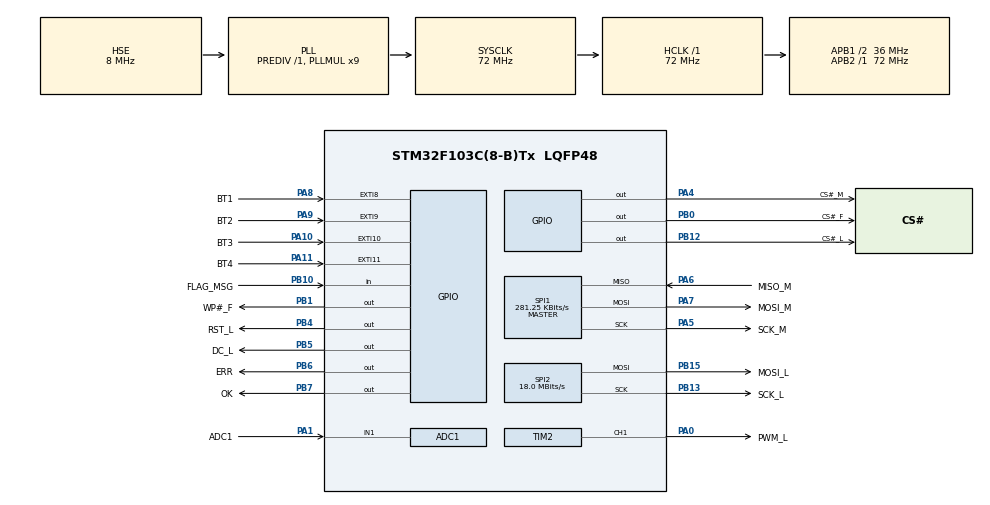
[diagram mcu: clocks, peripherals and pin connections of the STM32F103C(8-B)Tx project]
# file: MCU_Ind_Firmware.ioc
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ADC1.Channel-0\#ChannelRegularConversion=ADC_CHANNEL_1
ADC1.ContinuousConvMode=ENABLE
ADC1.NbrOfConversionFlag=1
ADC1.Rank-0\#ChannelRegularConversion=1
ADC1.SamplingTime-0\#ChannelRegularConversion=ADC_SAMPLETIME_1CYCLE_5
ADC1.master=1
Mcu.Family=STM32F1
Mcu.Name=STM32F103C(8-B)Tx
Mcu.Package=LQFP48
NVIC.EXTI15_10_IRQn=true\:0\:0\:false\:false\:true\:true\:true
NVIC.EXTI9_5_IRQn=true\:0\:0\:false\:false\:true\:true\:true
NVIC.PriorityGroup=NVIC_PRIORITYGROUP_4
NVIC.SPI1_IRQn=true\:0\:0\:false\:false\:true\:true\:true
NVIC.TIM1_UP_IRQn=true\:0\:0\:false\:false\:true\:true\:true
PA0-WKUP.GPIO_Label=PWM_L
PA0-WKUP.Signal=S_TIM2_CH1_ETR
PA1.GPIO_Label=ADC1
PA1.Signal=ADCx_IN1
PA10.GPIO_Label=BT3
PA10.GPIO_PuPd=GPIO_NOPULL
PA10.Signal=GPXTI10
PA11.GPIO_Label=BT4
PA11.GPIO_ModeDefaultEXTI=GPIO_MODE_IT_FALLING
PA11.GPIO_PuPd=GPIO_NOPULL
PA11.Signal=GPXTI11
PA13.Mode=Serial_Wire
PA13.Signal=SYS_JTMS-SWDIO
PA14.Mode=Serial_Wire
PA14.Signal=SYS_JTCK-SWCLK
PA4.GPIO_Label=CS\#_M
PA4.GPIO_ModeDefaultOutputPP=GPIO_MODE_OUTPUT_PP
PA4.GPIO_PuPd=GPIO_NOPULL
PA4.GPIO_Speed=GPIO_SPEED_FREQ_HIGH
PA4.PinState=GPIO_PIN_RESET
PA4.Signal=GPIO_Output
PA5.GPIO_Label=SCK_M
PA5.Mode=Full_Duplex_Master
PA5.Signal=SPI1_SCK
PA6.GPIO_Label=MISO_M
PA6.Mode=Full_Duplex_Master
PA6.Signal=SPI1_MISO
PA7.GPIO_Label=MOSI_M
PA7.Mode=Full_Duplex_Master
PA7.Signal=SPI1_MOSI
PA8.GPIO_Label=BT1
PA8.GPIO_ModeDefaultEXTI=GPIO_MODE_IT_FALLING
PA8.GPIO_PuPd=GPIO_NOPULL
PA8.Signal=GPXTI8
PA9.GPIO_Label=BT2
PA9.GPIO_ModeDefaultEXTI=GPIO_MODE_IT_FALLING
PA9.GPIO_PuPd=GPIO_NOPULL
PA9.Signal=GPXTI9
PB0.GPIO_Label=CS\#_F
PB0.GPIO_ModeDefaultOutputPP=GPIO_MODE_OUTPUT_PP
PB0.GPIO_PuPd=GPIO_NOPULL
PB0.GPIO_Speed=GPIO_SPEED_FREQ_HIGH
PB0.PinState=GPIO_PIN_RESET
PB0.Signal=GPIO_Output
PB1.GPIO_Label=WP\#_F
PB1.GPIO_ModeDefaultOutputPP=GPIO_MODE_OUTPUT_PP
PB1.GPIO_PuPd=GPIO_NOPULL
PB1.GPIO_Speed=GPIO_SPEED_FREQ_HIGH
PB1.PinState=GPIO_PIN_RESET
PB1.Signal=GPIO_Output
PB10.GPIO_Label=FLAG_MSG
PB10.GPIO_PuPd=GPIO_PULLUP
PB10.Signal=GPIO_Input
PB12.GPIO_Label=CS\#_L
PB12.GPIO_ModeDefaultOutputPP=GPIO_MODE_OUTPUT_PP
PB12.GPIO_PuPd=GPIO_NOPULL
PB12.GPIO_Speed=GPIO_SPEED_FREQ_HIGH
PB12.PinState=GPIO_PIN_RESET
PB12.Signal=GPIO_Output
PB13.GPIO_Label=SCK_L
PB13.Mode=TX_Only_Simplex_Unidirect_Master
PB13.Signal=SPI2_SCK
PB15.GPIO_Label=MOSI_L
PB15.Mode=TX_Only_Simplex_Unidirect_Master
PB15.Signal=SPI2_MOSI
PB4.GPIO_Label=RST_L
PB4.GPIO_ModeDefaultOutputPP=GPIO_MODE_OUTPUT_PP
PB4.GPIO_PuPd=GPIO_NOPULL
PB4.GPIO_Speed=GPIO_SPEED_FREQ_HIGH
PB4.PinState=GPIO_PIN_RESET
PB4.Signal=GPIO_Output
PB5.GPIO_Label=DC_L
PB5.GPIO_ModeDefaultOutputPP=GPIO_MODE_OUTPUT_PP
PB5.GPIO_PuPd=GPIO_NOPULL
PB5.GPIO_Speed=GPIO_SPEED_FREQ_HIGH
PB5.PinState=GPIO_PIN_RESET
PB5.Signal=GPIO_Output
PB6.GPIO_Label=ERR
PB6.GPIO_ModeDefaultOutputPP=GPIO_MODE_OUTPUT_PP
PB6.GPIO_PuPd=GPIO_NOPULL
PB6.GPIO_Speed=GPIO_SPEED_FREQ_HIGH
PB6.PinState=GPIO_PIN_RESET
PB6.Signal=GPIO_Output
PB7.GPIO_Label=OK
PB7.GPIO_ModeDefaultOutputPP=GPIO_MODE_OUTPUT_PP
PB7.GPIO_PuPd=GPIO_NOPULL
PB7.GPIO_Speed=GPIO_SPEED_FREQ_HIGH
PB7.PinState=GPIO_PIN_RESET
PB7.Signal=GPIO_Output
PD0-OSC_IN.Mode=HSE-External-Oscillator
PD0-OSC_IN.Signal=RCC_OSC_IN
PD1-OSC_OUT.Mode=HSE-External-Oscillator
PD1-OSC_OUT.Signal=RCC_OSC_OUT
ProjectManager.HeapSize=0x200
ProjectManager.StackSize=0x400
ProjectManager.TargetToolchain=STM32CubeIDE
RCC.ADCPresc=RCC_ADCPCLK2_DIV6
RCC.AHBFreq_Value=72000000
RCC.APB1CLKDivider=RCC_HCLK_DIV2
RCC.APB1Freq_Value=36000000
RCC.APB1TimFreq_Value=72000000
RCC.APB2Freq_Value=72000000
RCC.APB2TimFreq_Value=72000000
RCC.HCLKFreq_Value=72000000
RCC.PLLMUL=RCC_PLL_MUL9
RCC.PLLSourceVirtual=RCC_PLLSOURCE_HSE
RCC.SYSCLKFreq_VALUE=72000000
RCC.SYSCLKSource=RCC_SYSCLKSOURCE_PLLCLK
RCC.USBFreq_Value=72000000
RTC.AutoPrediv=RTC_AUTO_1_SECOND
RTC.Date=20
RTC.Format=RTC_FORMAT_BIN
RTC.Hours=17
RTC.Minutes=40
RTC.Month=RTC_MONTH_APRIL
RTC.WeekDay=RTC_WEEKDAY_TUESDAY
RTC.Year=21
SH.ADCx_IN1.0=ADC1_IN1,IN1
SH.S_TIM2_CH1_ETR.0=TIM2_CH1,PWM Generation1 CH1
SPI1.BaudRatePrescaler=SPI_BAUDRATEPRESCALER_256
SPI1.CLKPhase=SPI_PHASE_1EDGE
SPI1.CLKPolarity=SPI_POLARITY_LOW
SPI1.CalculateBaudRate=281.25 KBits/s
SPI1.Direction=SPI_DIRECTION_2LINES
SPI1.Mode=SPI_MODE_MASTER
SPI1.VirtualType=VM_MASTER
SPI2.BaudRatePrescaler=SPI_BAUDRATEPRESCALER_2
SPI2.CalculateBaudRate=18.0 MBits/s
SPI2.Direction=SPI_DIRECTION_2LINES
SPI2.Mode=SPI_MODE_MASTER
SPI2.VirtualType=VM_MASTER
TIM1.ClockDivision=TIM_CLOCKDIVISION_DIV1
TIM1.Period=49999
TIM1.Prescaler=1439
TIM2.Channel-PWM\ Generation1\ CH1=TIM_CHANNEL_1
TIM2.OC1Preload_PWM=ENABLE
TIM2.Period=4095
TIM2.Pulse-PWM\ Generation1\ CH1=4095
VP_RTC_VS_RTC_Activate.Mode=RTC_Enabled
VP_RTC_VS_RTC_Calendar.Mode=RTC_Calendar
VP_TIM1_VS_ClockSourceINT.Mode=Internal
board=custom

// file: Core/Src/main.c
/* USER CODE BEGIN Header */
/**
  ******************************************************************************
  * @file           : main.c
  * @brief          : Main program body
  ******************************************************************************
  * @attention
  *
  * <h2><center>&copy; Copyright (c) 2020 STMicroelectronics.
  * All rights reserved.</center></h2>
  *
  * This software component is licensed by ST under BSD 3-Clause license,
  * the "License"; You may not use this file except in compliance with the
  * License. You may obtain a copy of the License at:
  *                        opensource.org/licenses/BSD-3-Clause
  *
  ******************************************************************************
  */
/* USER CODE END Header */
#include "main.h"
#include "adc.h"
#include "rtc.h"
#include "spi.h"
#include "tim.h"
#include "gpio.h"

/* USER CODE BEGIN Includes */
#include "st7735.h"
#include "fonts.h"
/* USER CODE END Includes */

/* USER CODE BEGIN PV */
extern uint8_t SPI_rx_buf[1];
extern uint8_t SPI_tx_buf[1];
uint8_t flag_output_spi1 = 0;

uint8_t start_device = 1;	//Флаг запуска устройства, чтобы запросить включить подсветку дисплея

uint8_t r =  1;				//Переменная ориентации дисплея
uint8_t DOWN = 0;			//Флаг нажатия кнопки "Вниз"
uint8_t UP = 0;				//Флаг нажатия кнопки "Вверх"
uint8_t ENTER = 0;			//Флаг нажатия кнопки "Ввод"
uint8_t BACK = 0;			//Флаг нажатия кнопки "Назад"
uint32_t time = 0;			//Переменная задержки

uint8_t choice = 0;			//Переменная выбранного пункта меню
uint8_t idMenu[12] = {0, 0, 0, 0, 0, 0, 0, 0, 0, 0, 0, 0};			//Флаг возврата в главное меню
uint8_t Number_Menu = 1;	//Переменная номера меню в котором находимся
uint8_t Sub_Menu = 0;		//Переменная номера под меню в котором находимся

uint16_t What_Time = 0;
uint16_t What_Date = 0;
/* USER CODE END PV */

void SystemClock_Config(void);

int main(void)
{

  /* MCU Configuration--------------------------------------------------------*/

  /* Reset of all peripherals, Initializes the Flash interface and the Systick. */
  HAL_Init();

  /* Configure the system clock */
  SystemClock_Config();

  /* Initialize all configured peripherals */
  MX_GPIO_Init();
  MX_ADC1_Init();
  MX_SPI1_Init();
  MX_SPI2_Init();
  MX_TIM2_Init();
  MX_TIM1_Init();
  MX_RTC_Init();
  /* USER CODE BEGIN 2 */

  	ST7735_Init();
	ST7735_SetRotation(r);
	loading();
	//Init_Card();
	//HAL_TIM_Base_Start_IT(&htim1);
	HAL_TIM_PWM_Start(&htim2, TIM_CHANNEL_1);
	time = 200;
	HAL_Delay(4750);
	Menu_Main();
	HAL_TIM_Base_Start_IT(&htim1);
  /* USER CODE END 2 */

  /* Infinite loop */
  /* USER CODE BEGIN WHILE */
    while (1)
    {
    	BackLight(Get_ADC1());		//BackLight((4095 - Get_ADC1()));
    	DataUpdate();			//Подумать про обновление дисплея
    	if(Number_Menu == 1)	//Главное меню
    	{
    		if(idMenu[0])
    		{
    			Menu_Main();
    			idMenu[0] = 0;
    		}
    		if(DOWN)
    		{
    			choice = Main_Menu(DOWN, UP, time);
    			DOWN = 0;
    		}
    		else if(UP)
    		{
    			choice = Main_Menu(DOWN, UP, time);
    			UP = 0;
    		}
    	}
    	else if(Number_Menu == 2)	//Подменю: "Выводы базового блока"
    	{
    		if(idMenu[1])
    		{
    			Menu_Output();
    			idMenu[1] = 0;
    		}
    		if(DOWN)
    		{
    			choice = One_Menu(DOWN, UP, time);
    			DOWN = 0;
    		}
    		else if(UP)
    		{
    			choice = One_Menu(DOWN, UP, time);
    			UP = 0;
    		}
    	}
    	else if(Number_Menu == 3)	//Подменю: "Подключенные блоки"
    	{
    		if(idMenu[2])
    		{
    			Menu_Blocks();
    			idMenu[2] = 0;
    		}
    		if(DOWN)
    		{
    			choice = Two_Menu(DOWN, UP, time);
    			DOWN = 0;
    		}
    		else if(UP)
    		{
    			choice = Two_Menu(DOWN, UP, time);
    			UP = 0;
    		}
    	}
    	else if(Number_Menu == 4)	//Подменю: "Аналоговые входы"
    	{
    		if(idMenu[3])
    		{
    			Menu_Analog();
    			idMenu[3] = 0;
    		}
    		if(DOWN)
    		{
    			choice = Three_Menu(DOWN, UP, time);
    			DOWN = 0;
    		}
    		else if(UP)
    		{
    			choice = Three_Menu(DOWN, UP, time);
    			UP = 0;
    		}
    	}
    	else if(Number_Menu == 5)	//Подменю: "Цифровые входы"
    	{
    		if(idMenu[4])
    		{
    			Menu_Digital();
    			idMenu[4] = 0;
    		}
    		if(DOWN)
    		{
    			choice = Four_Menu(DOWN, UP, time);
    			DOWN = 0;
    		}
    		else if(UP)
    		{
    			choice = Four_Menu(DOWN, UP, time);
    			UP = 0;
    		}
    	}
    	else if(Number_Menu == 6)	//Подменю: "Открытый коллектор"
    	{
    		if(idMenu[5])
    		{
    			Menu_OpenDrain();
    			idMenu[5] = 0;
    		}
    		if(DOWN)
    		{
    			choice = Five_Menu(DOWN, UP, time);
    			DOWN = 0;
    		}
    		else if(UP)
    		{
    			choice = Five_Menu(DOWN, UP, time);
    			UP = 0;
    		}
    	}
    	else if(Number_Menu == 7)	//Подменю: "1-Wire"
    	{
    		if(idMenu[6])
    		{
    			Menu_1Wire();
    			idMenu[6] = 0;
    		}
    		if(DOWN)
    		{
    			choice = Six_Menu(DOWN, UP, time);
    			DOWN = 0;
    		}
    		else if(UP)
    		{
    			choice = Six_Menu(DOWN, UP, time);
    			UP = 0;
    		}
    	}
    	else if(Number_Menu == 8)	//Подменю: "PWM"
    	{
    		if(idMenu[7])
    		{
    			Menu_PWM();
    			idMenu[7] = 0;
    		}
    		if(DOWN)
    		{
    			choice = Seven_Menu(DOWN, UP, time);
    			DOWN = 0;
    		}
    		else if(UP)
    		{
    			choice = Seven_Menu(DOWN, UP, time);
    			UP = 0;
    		}
    	}
    	else if(Number_Menu == 9)	//Подменю: "RELAY"
    	{
    		if(idMenu[8])
    		{
    			idMenu[8] = 0;
    		}
    	}
    	if(ENTER)
    	{
    		Number_Menu = Item_Selection(choice);
    		if((Number_Menu >= 13) && (Number_Menu <= 20))
    		{
    			Visible_Analog();
    			Number_Menu = 4;
    		}
    		if((Number_Menu >= 21) && (Number_Menu <= 28))
    		{
    			Visible_Digital();
    			Number_Menu = 5;
    		}
    		else if((Number_Menu >= 29) && (Number_Menu <= 32))
    		{
    			Visible_PWM();
    			Number_Menu = 8;
    		}
    		else if((Number_Menu >= 33) && (Number_Menu <= 34))
    		{
    			Visible_1Wire();
    			Number_Menu = 7;
    		}
    		else if((Number_Menu >= 35) && (Number_Menu <= 42))
    		{
    			Visible_OpenDrain();
    			Number_Menu = 6;
    		}
    		HAL_Delay(time);
    		ENTER = 0;
    	}
    	if(BACK)
    	{
    		if(Number_Menu == 4)
    		{
    			Number_Menu = 2;
    			idMenu[1] = 1;
    		}
    		else if(Number_Menu == 2)
    		{
    			Number_Menu = 1;
    			idMenu[0] = 1;
    		}
    		else if(Number_Menu == 3)
    		{
    			Number_Menu = 1;
    			idMenu[0] = 1;
    		}
    		if(Number_Menu == 1)
    		{
    			idMenu[0] = 1;
    		}
    		if(Number_Menu == 5)
    		{
    			Number_Menu = 2;
    			idMenu[1] = 1;
    		}
    		if(Number_Menu == 6)
    		{
    			Number_Menu = 2;
    			idMenu[1] = 1;
    		}
    		if(Number_Menu == 7)
    		{
    			Number_Menu = 2;
    			idMenu[1] = 1;
    		}
    		if(Number_Menu == 8)
    		{
    			Number_Menu = 2;
    			idMenu[1] = 1;
    		}
    		if(Number_Menu == 9)
    		{
    			Number_Menu = 3;
    			idMenu[2] = 1;
    		}
    		if(Number_Menu == 10)
    		{
    			Number_Menu = 3;
    			idMenu[2] = 1;
    		}
    		if(Number_Menu == 11)
    		{
    			Number_Menu = 3;
    			idMenu[2] = 1;
    		}
    		if(Number_Menu == 12)
    		{
    			Number_Menu = 3;
    			idMenu[2] = 1;
    		}
    		HAL_Delay(time);
    		BACK = 0;
    	}
    /* USER CODE END WHILE */

    }
}

void SystemClock_Config(void)
{
  RCC_OscInitTypeDef RCC_OscInitStruct = {0};
  RCC_ClkInitTypeDef RCC_ClkInitStruct = {0};
  RCC_PeriphCLKInitTypeDef PeriphClkInit = {0};

  /** Initializes the RCC Oscillators according to the specified parameters
  * in the RCC_OscInitTypeDef structure.
  */
  RCC_OscInitStruct.OscillatorType = RCC_OSCILLATORTYPE_LSI|RCC_OSCILLATORTYPE_HSE;
  RCC_OscInitStruct.HSEState = RCC_HSE_ON;
  RCC_OscInitStruct.HSEPredivValue = RCC_HSE_PREDIV_DIV1;
  RCC_OscInitStruct.HSIState = RCC_HSI_ON;
  RCC_OscInitStruct.LSIState = RCC_LSI_ON;
  RCC_OscInitStruct.PLL.PLLState = RCC_PLL_ON;
  RCC_OscInitStruct.PLL.PLLSource = RCC_PLLSOURCE_HSE;
  RCC_OscInitStruct.PLL.PLLMUL = RCC_PLL_MUL9;
  if (HAL_RCC_OscConfig(&RCC_OscInitStruct) != HAL_OK)
  {
    Error_Handler();
  }
  /** Initializes the CPU, AHB and APB buses clocks
  */
  RCC_ClkInitStruct.ClockType = RCC_CLOCKTYPE_HCLK|RCC_CLOCKTYPE_SYSCLK
                              |RCC_CLOCKTYPE_PCLK1|RCC_CLOCKTYPE_PCLK2;
  RCC_ClkInitStruct.SYSCLKSource = RCC_SYSCLKSOURCE_PLLCLK;
  RCC_ClkInitStruct.AHBCLKDivider = RCC_SYSCLK_DIV1;
  RCC_ClkInitStruct.APB1CLKDivider = RCC_HCLK_DIV2;
  RCC_ClkInitStruct.APB2CLKDivider = RCC_HCLK_DIV1;

  if (HAL_RCC_ClockConfig(&RCC_ClkInitStruct, FLASH_LATENCY_2) != HAL_OK)
  {
    Error_Handler();
  }
  PeriphClkInit.PeriphClockSelection = RCC_PERIPHCLK_RTC|RCC_PERIPHCLK_ADC;
  PeriphClkInit.RTCClockSelection = RCC_RTCCLKSOURCE_LSI;
  PeriphClkInit.AdcClockSelection = RCC_ADCPCLK2_DIV6;
  if (HAL_RCCEx_PeriphCLKConfig(&PeriphClkInit) != HAL_OK)
  {
    Error_Handler();
  }
}

/* USER CODE BEGIN 4 */
void HAL_GPIO_EXTI_Callback(uint16_t GPIO_Pin)
{
	if (GPIO_Pin == GPIO_PIN_9)
	{
		if((GPIOA->IDR & GPIO_PIN_9) != 1)
		{
			if((GPIOA->IDR & GPIO_PIN_9) != 1)
				DOWN = 1;
		}
	}
	else if (GPIO_Pin == GPIO_PIN_8)
	{
		if((GPIOA->IDR & GPIO_PIN_8) != 1)
		{
			if((GPIOA->IDR & GPIO_PIN_8) != 1)
				UP = 1;
		}
	}
	else if (GPIO_Pin == GPIO_PIN_10)
	{
		if((GPIOA->IDR & GPIO_PIN_10) != 1)
		{
			if((GPIOA->IDR & GPIO_PIN_10) != 1)
				ENTER = 1;
		}
	}
	else if (GPIO_Pin == GPIO_PIN_11)
	{
		if((GPIOA->IDR & GPIO_PIN_11) != 1)
		{
			if((GPIOA->IDR & GPIO_PIN_11) != 1)
				BACK = 1;
		}
	}
	else
	{
		__NOP();
	}
	What_Time = 0;
}
void HAL_TIM_PeriodElapsedCallback(TIM_HandleTypeDef *htim)
{
	if(htim->Instance == TIM1) //check if the interrupt comes from TIM1
    {
		What_Time++;
		What_Date++;

		if(What_Date == 60)	//Запрос данных каждую 1 минуту
        {
			if(Number_Menu == 1)
			{
				Str_Time();
			}
			else
				__NOP();
			What_Date = 0;
        }
		if(What_Time == 300)	//Запрос данных каждые 5 минут
        {
        	//Возврат на главное меню по истечении времени
			if(Number_Menu > 1)
			{
				Menu_Main();
				Number_Menu = 1;
				//idMenu[0] = 0;
				What_Time = 0;
			}
			else
				__NOP();
			What_Time = 0;
        }
    }
}
void HAL_SPI_TxRxCpltCallback(SPI_HandleTypeDef *hspi)
{
	if(hspi == &hspi1)
	{
		if(hspi1.TxXferCount == 0)
		{
			CSM_H;
			flag_output_spi1 = 1;
		}
	}
}
/* USER CODE END 4 */

void Error_Handler(void)
{
}

/************************ (C) COPYRIGHT STMicroelectronics *****END OF FILE****/
